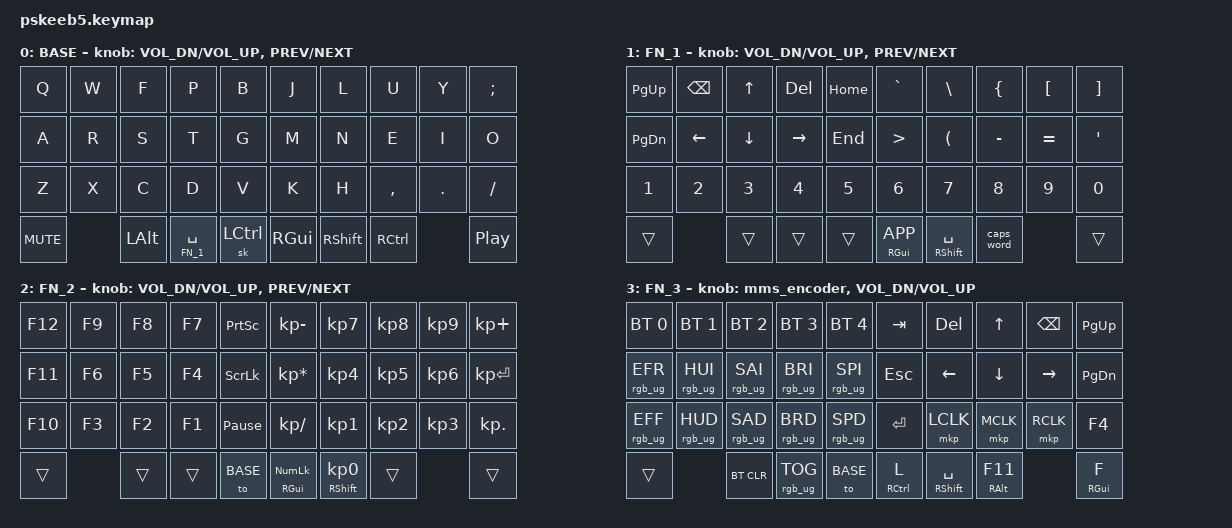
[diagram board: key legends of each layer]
#define ZMK_POINTING_DEFAULT_MOVE_VAL 1500  // default: 600
#define ZMK_POINTING_DEFAULT_SCRL_VAL 20    // default: 10

#define BASE 0
#define FN_1 1
#define FN_2 2
#define FN_3 3

#include <behaviors.dtsi>
#include <dt-bindings/zmk/bt.h>
#include <dt-bindings/zmk/keys.h>
#include <dt-bindings/zmk/pointing.h>
#include <dt-bindings/zmk/rgb.h>
#include <dt-bindings/zmk/mouse.h>

#include <behaviors/mouse_setting.dtsi>
#include <dt-bindings/zmk/mouse_settings.h>

&lt { flavor = "hold-preferred"; };

/ {
  macros {
    mo_1_kp: mo_1_kp { compatible = "zmk,behavior-macro-one-param"; #binding-cells = <1>; wait-ms = <0>; tap-ms = <0>; bindings = <&macro_param_1to1>, <&macro_press &kp MACRO_PLACEHOLDER>,
      <&macro_press &mo FN_1>, <&macro_pause_for_release>, <&macro_release &mo FN_1>, <&macro_param_1to1>, <&macro_release &kp MACRO_PLACEHOLDER>; };
    rgui_kp: rgui_kp { compatible = "zmk,behavior-macro-one-param"; #binding-cells = <1>; wait-ms = <0>; tap-ms = <0>; bindings = <&macro_param_1to1>, <&macro_press &kp MACRO_PLACEHOLDER>,
      <&macro_press &kp RGUI>, <&macro_pause_for_release>, <&macro_release &kp RGUI>, <&macro_param_1to1>, <&macro_release &kp MACRO_PLACEHOLDER>; };
  };
  behaviors {
    sq: sq { compatible = "zmk,behavior-sticky-key"; #binding-cells = <1>; release-after-ms = <3000>; quick-release; lazy; ignore-modifiers; bindings = <&kp>; };
    mo_1_kp__sq: mo_1_kp__sq { compatible = "zmk,behavior-hold-tap"; #binding-cells = <2>; flavor = "hold-preferred"; tapping-term-ms = <200>; bindings = <&mo_1_kp>, <&sq>; quick-tap-ms = <200>; };
    rgui_kp__to: rgui_kp__to { compatible = "zmk,behavior-hold-tap"; #binding-cells = <2>; flavor = "hold-preferred"; tapping-term-ms = <200>; bindings = <&rgui_kp>, <&to>; quick-tap-ms = <200>; };
    rgui_kp__sq: rgui_kp__sq { compatible = "zmk,behavior-hold-tap"; #binding-cells = <2>; flavor = "hold-preferred"; tapping-term-ms = <200>; bindings = <&rgui_kp>, <&sq>; quick-tap-ms = <200>; };
    mms_encoder: mms_encoder { compatible = "zmk,behavior-sensor-rotate"; #sensor-binding-cells = <0>; bindings = <&mms MS_TP_SENSITIVITY_DECR>, <&mms MS_TP_SENSITIVITY_INCR>; };
  };
  keymap { compatible = "zmk,keymap";
    BASE { label = "BASE";
      sensor-bindings = < &inc_dec_kp C_VOL_DN C_VOL_UP &inc_dec_kp C_PREV C_NEXT >;
      bindings = <
        &kp Q             &kp W             &kp F             &kp P             &kp B             &kp J             &kp L             &kp U             &kp Y             &kp SEMI
        &kp A             &kp R             &kp S             &kp T             &kp G             &kp M             &kp N             &kp E             &kp I             &kp O
        &kp Z             &kp X             &kp C             &kp D             &kp V             &kp K             &kp H             &kp COMMA         &kp DOT           &kp FSLH
        &kp C_MUTE                          &kp LALT          &lt FN_1 SPACE    &sk LCTRL         &kp RGUI          &kp RSHFT         &kp RCTRL                           &kp C_PP >; };
    FN_1 { label = "FN_1";
      sensor-bindings = < &inc_dec_kp C_VOL_DN C_VOL_UP &inc_dec_kp C_PREV C_NEXT >;
      bindings = <
        &kp PG_UP         &kp BSPC          &kp UP            &kp DEL           &kp HOME          &kp GRAVE         &kp BSLH          &kp LBRC          &kp LBKT          &kp RBKT
        &kp PG_DN         &kp LEFT          &kp DOWN          &kp RIGHT         &kp END           &kp GT            &kp LPAR          &kp MINUS         &kp EQUAL         &kp SQT
        &kp N1            &kp N2            &kp N3            &kp N4            &kp N5            &kp N6            &kp N7            &kp N8            &kp N9            &kp N0
        &trans                              &trans            &trans            &trans            &mt RGUI K_APP    &mt RSHFT SPACE   &caps_word                          &trans >; };
    FN_2 { label = "FN_2";
      sensor-bindings = < &inc_dec_kp C_VOL_DN C_VOL_UP &inc_dec_kp C_PREV C_NEXT >;
      bindings = <
        &kp F12           &kp F9            &kp F8            &kp F7            &kp PSCRN         &kp KP_MINUS      &kp KP_N7         &kp KP_N8         &kp KP_N9         &kp KP_PLUS
        &kp F11           &kp F6            &kp F5            &kp F4            &kp SLCK          &kp KP_MULTIPLY   &kp KP_N4         &kp KP_N5         &kp KP_N6         &kp KP_ENTER
        &kp F10           &kp F3            &kp F2            &kp F1            &kp PAUSE_BREAK   &kp KP_DIVIDE     &kp KP_N1         &kp KP_N2         &kp KP_N3         &kp KP_DOT
        &trans                              &trans            &trans            &to BASE          &mt RGUI KP_NUM   &mt RSHFT KP_N0   &trans                              &trans >; };
    FN_3 { label = "FN_3";
      sensor-bindings = < &mms_encoder &inc_dec_kp C_VOL_DN C_VOL_UP >;
      bindings = <
        &bt BT_SEL 0      &bt BT_SEL 1      &bt BT_SEL 2      &bt BT_SEL 3      &bt BT_SEL 4      &kp TAB           &kp DEL           &kp UP            &kp BSPC          &kp PG_UP
        &rgb_ug RGB_EFR   &rgb_ug RGB_HUI   &rgb_ug RGB_SAI   &rgb_ug RGB_BRI   &rgb_ug RGB_SPI   &kp ESC           &kp LEFT          &kp DOWN          &kp RIGHT         &kp PG_DN
        &rgb_ug RGB_EFF   &rgb_ug RGB_HUD   &rgb_ug RGB_SAD   &rgb_ug RGB_BRD   &rgb_ug RGB_SPD   &kp ENTER         &mkp LCLK         &mkp MCLK         &mkp RCLK         &kp F4
        &trans                              &bt BT_CLR        &rgb_ug RGB_TOG   &to BASE          &mt RCTRL L       &mt RSHFT SPACE   &mt RALT F11                        &mt RGUI F >; };
  };
  combos { compatible = "zmk,combos";
    layer_0_both_row_0_col_01  { timeout-ms = <30>; layers = <BASE>; key-positions = <32 33 34 35>; bindings = <&to FN_3>; };
    layer_3_left_row_12_col_01 { timeout-ms = <30>; layers = <FN_3>; key-positions = <13 14 23 24>; bindings = <&bootloader>; };
    layer_3_rght_row_12_col_01 { timeout-ms = <30>; layers = <FN_3>; key-positions = <15 16 25 26>; bindings = <&bootloader>; };

    layer_0_left_row_3_col_01  { timeout-ms = <30>; layers = <BASE>; key-positions = <3 4>;   bindings = <&kp C_VOL_UP>; };
    layer_0_left_row_3_col_12  { timeout-ms = <30>; layers = <BASE>; key-positions = <2 3>;   bindings = <&kp INS>; };
    layer_0_left_row_3_col_23  { timeout-ms = <30>; layers = <BASE>; key-positions = <1 2>;   bindings = <&kp TAB>; };
    layer_0_left_row_3_col_34  { timeout-ms = <30>; layers = <BASE>; key-positions = <0 1>;   bindings = <&kp CAPS>; };
    layer_0_left_row_2_col_01  { timeout-ms = <30>; layers = <BASE>; key-positions = <13 14>; bindings = <&kp C_VOL_DN>; };
    layer_0_left_row_2_col_12  { timeout-ms = <10>; layers = <BASE>; key-positions = <12 13>; bindings = <&kp ENTER>; };
    layer_0_left_row_2_col_23  { timeout-ms = <10>; layers = <BASE>; key-positions = <11 12>; bindings = <&kp ESC>; };
    layer_0_left_row_2_col_34  { timeout-ms = <10>; layers = <BASE>; key-positions = <10 11>; bindings = <&kp SPACE>; };
    layer_0_left_row_1_col_01  { timeout-ms = <30>; layers = <BASE>; key-positions = <23 24>; bindings = <&kp C_MUTE>; };
    layer_0_left_row_1_col_12  { timeout-ms = <20>; layers = <BASE>; key-positions = <22 23>; bindings = <&mkp LCLK>; };
    layer_0_left_row_1_col_23  { timeout-ms = <30>; layers = <BASE>; key-positions = <21 22>; bindings = <&mkp MCLK>; };
    layer_0_left_row_1_col_34  { timeout-ms = <30>; layers = <BASE>; key-positions = <20 21>; bindings = <&mkp RCLK>; };

    layer_0_rght_row_3_col_01  { timeout-ms = <30>; layers = <BASE>; key-positions = <5 6>;   bindings = <&kp C_PREV>; };
    layer_0_rght_row_3_col_12  { timeout-ms = <30>; layers = <BASE>; key-positions = <6 7>;   bindings = <&mkp MB4>; };
    layer_0_rght_row_3_col_23  { timeout-ms = <30>; layers = <BASE>; key-positions = <7 8>;   bindings = <&msc SCRL_UP>; };
    layer_0_rght_row_3_col_34  { timeout-ms = <30>; layers = <BASE>; key-positions = <8 9>;   bindings = <&mkp MB5>; };
    layer_0_rght_row_2_col_01  { timeout-ms = <30>; layers = <BASE>; key-positions = <15 16>; bindings = <&kp C_NEXT>; };
    layer_0_rght_row_2_col_12  { timeout-ms = <10>; layers = <BASE>; key-positions = <16 17>; bindings = <&msc SCRL_LEFT>; };
    layer_0_rght_row_2_col_23  { timeout-ms = <10>; layers = <BASE>; key-positions = <17 18>; bindings = <&msc SCRL_DOWN>; };
    layer_0_rght_row_2_col_34  { timeout-ms = <10>; layers = <BASE>; key-positions = <18 19>; bindings = <&msc SCRL_RIGHT>; };
    layer_0_rght_row_1_col_01  { timeout-ms = <30>; layers = <BASE>; key-positions = <25 26>; bindings = <&kp C_PP>; };
    layer_0_rght_row_1_col_12  { timeout-ms = <20>; layers = <BASE>; key-positions = <26 27>; bindings = <&mkp LCLK>; };
    layer_0_rght_row_1_col_23  { timeout-ms = <30>; layers = <BASE>; key-positions = <27 28>; bindings = <&mkp MCLK>; };
    layer_0_rght_row_1_col_34  { timeout-ms = <30>; layers = <BASE>; key-positions = <28 29>; bindings = <&mkp RCLK>; };

    layer_1_left_row_3_col_01  { timeout-ms = <30>; layers = <FN_1>; key-positions = <3 4>;   bindings = <&kp F12>; };
    layer_1_left_row_3_col_12  { timeout-ms = <30>; layers = <FN_1>; key-positions = <2 3>;   bindings = <&kp F7>; };
    layer_1_left_row_3_col_23  { timeout-ms = <30>; layers = <FN_1>; key-positions = <1 2>;   bindings = <&kp F8>; };
    layer_1_left_row_3_col_34  { timeout-ms = <30>; layers = <FN_1>; key-positions = <0 1>;   bindings = <&kp F9>; };
    layer_1_left_row_2_col_01  { timeout-ms = <30>; layers = <FN_1>; key-positions = <13 14>; bindings = <&kp F11>; };
    layer_1_left_row_2_col_12  { timeout-ms = <30>; layers = <FN_1>; key-positions = <12 13>; bindings = <&kp F4>; };
    layer_1_left_row_2_col_23  { timeout-ms = <30>; layers = <FN_1>; key-positions = <11 12>; bindings = <&kp F5>; };
    layer_1_left_row_2_col_34  { timeout-ms = <30>; layers = <FN_1>; key-positions = <10 11>; bindings = <&kp F6>; };
    layer_1_left_row_1_col_01  { timeout-ms = <30>; layers = <FN_1>; key-positions = <23 24>; bindings = <&kp F10>; };
    layer_1_left_row_1_col_12  { timeout-ms = <30>; layers = <FN_1>; key-positions = <22 23>; bindings = <&kp F1>; };
    layer_1_left_row_1_col_23  { timeout-ms = <30>; layers = <FN_1>; key-positions = <21 22>; bindings = <&kp F2>; };
    layer_1_left_row_1_col_34  { timeout-ms = <30>; layers = <FN_1>; key-positions = <20 21>; bindings = <&kp F3>; };

    layer_1_rght_row_3_col_01  { timeout-ms = <30>; layers = <FN_1>; key-positions = <5 6>;   bindings = <&kp PSCRN>; };
    layer_1_rght_row_2_col_01  { timeout-ms = <30>; layers = <FN_1>; key-positions = <15 16>; bindings = <&kp SLCK>; };
    layer_1_rght_row_1_col_01  { timeout-ms = <30>; layers = <FN_1>; key-positions = <25 26>; bindings = <&kp PAUSE_BREAK>; };

    layer_0_left_row_0_col_12  { timeout-ms = <30>; layers = <BASE>; key-positions = <31 32>; bindings = <&mo_1_kp__sq LALT LGUI>; };
    layer_0_left_row_0_col_01  { timeout-ms = <30>; layers = <BASE>; key-positions = <32 33>; bindings = <&mo_1_kp__sq LCTRL LSHFT>; };
    layer_0_both_row_0_col_0   { timeout-ms = <30>; layers = <BASE>; key-positions = <33 34>; bindings = <&rgui_kp__to LCTRL FN_2>; };
    layer_0_rght_row_0_col_01  { timeout-ms = <30>; layers = <BASE>; key-positions = <34 35>; bindings = <&rgui_kp__sq RSHFT RALT>; };
  };
};
